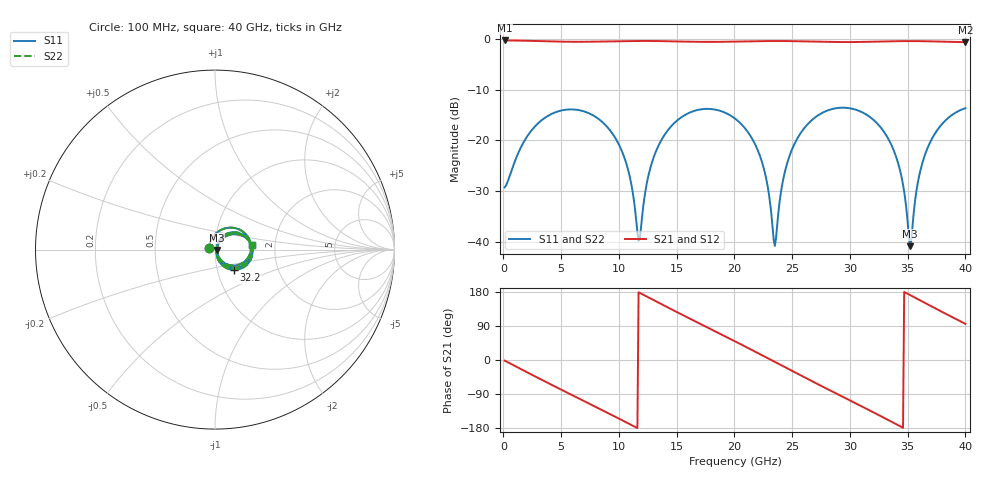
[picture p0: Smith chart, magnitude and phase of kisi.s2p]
! thru_BV_ts_refinout2_in2gnd_out: 2×thru B.Cu, 8 mm
! stackup: as the board case
! ports: 1 near, 2 far
! kisi-fdtd, conformal, dfine 0.035 mm, 370944 cells
# Hz S RI R 50
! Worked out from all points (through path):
!   400 points, 100 MHz to 40 GHz, reference 50 ohm
!   highest |S21| = -0.32 dB at 100 MHz (marker M1); lowest = -0.7 dB at 40 GHz (marker M2)
!   group delay of S21, straight-line fit = 43.3 ps
!   lowest |S11| = -40.9 dB at 35.2 GHz (marker M3), VSWR 1.02, Z = 50.9 - j0.254 ohm
!   |S11| at or under -10 dB: start of sweep to end of sweep
!   |S22| runs from -40.9 to -13.6 dB; largest |S21 - S12| = 0
!   S11 on the Smith chart (normalised r, x): 100 MHz: 0.93, +0.01; 32.2 GHz: 1.20, -0.28; 40 GHz: 1.52, +0.07
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1e8  -0.0338 0.00623  0.9631 -0.0268  0.9631 -0.0268  -0.0338 0.00623
3.7e9  0.1234 0.1166  0.4975 -0.804  0.4975 -0.804  0.1234 0.1166
6.8e9  0.1933 -0.0271  -0.2478 -0.9013  -0.2478 -0.9013  0.1933 -0.0271
1.02e10  0.0437 -0.0681  -0.8784 -0.3603  -0.8784 -0.3603  0.0437 -0.0681
1.11e10  0.0167 -0.0313  -0.9428 -0.1347  -0.9428 -0.1347  0.0167 -0.0313
1.17e10  0.0101 -0.00151  -0.953 0.0227  -0.953 0.0227  0.0101 -0.00151
1.25e10  0.017 0.0385  -0.9244 0.231  -0.9244 0.231  0.017 0.0385
1.34e10  0.0443 0.0753  -0.8371 0.4497  -0.8371 0.4497  0.0443 0.0753
1.68e10  0.1948 0.0393  -0.1467 0.9227  -0.1467 0.9227  0.1948 0.0393
2.01e10  0.1281 -0.0991  0.6219 0.7035  0.6219 0.7035  0.1281 -0.0991
2.24e10  0.0231 -0.0557  0.9271 0.2048  0.9271 0.2048  0.0231 -0.0557
2.35e10  0.00907 -0.00023  0.9477 -0.0836  0.9477 -0.0836  0.00907 -0.00023
2.46e10  0.0292 0.0537  0.8772 -0.3646  0.8772 -0.3646  0.0292 0.0537
2.67e10  0.1302 0.0893  0.529 -0.7768  0.529 -0.7768  0.1302 0.0893
2.94e10  0.2085 -0.0213  -0.1202 -0.9211  -0.1202 -0.9211  0.2085 -0.0213
3.22e10  0.1033 -0.1126  -0.7256 -0.5947  -0.7256 -0.5947  0.1033 -0.1126
3.34e10  0.0436 -0.0896  -0.886 -0.329  -0.886 -0.329  0.0436 -0.0896
3.45e10  0.0117 -0.0402  -0.9483 -0.0454  -0.9483 -0.0454  0.0117 -0.0402
3.52e10  0.00869 -0.0025  -0.9396 0.1412  -0.9396 0.1412  0.00869 -0.0025
3.59e10  0.0201 0.0338  -0.8928 0.3223  -0.8928 0.3223  0.0201 0.0338
3.67e10  0.0488 0.0667  -0.7958 0.5113  -0.7958 0.5113  0.0488 0.0667
4e10  0.2056 0.0231  -0.0877 0.9223  -0.0877 0.9223  0.2056 0.0231
